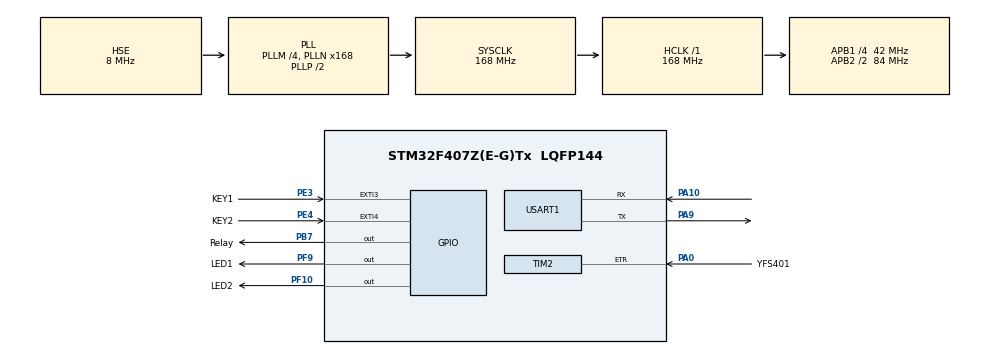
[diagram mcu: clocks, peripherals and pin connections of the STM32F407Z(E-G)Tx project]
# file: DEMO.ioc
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Mcu.Family=STM32F4
Mcu.Name=STM32F407Z(E-G)Tx
Mcu.Package=LQFP144
NVIC.EXTI3_IRQn=true\:1\:0\:true\:false\:true\:true\:true\:true
NVIC.EXTI4_IRQn=true\:1\:0\:true\:false\:true\:true\:true\:true
NVIC.PriorityGroup=NVIC_PRIORITYGROUP_4
NVIC.TIM7_IRQn=true\:0\:0\:false\:false\:true\:true\:true\:true
NVIC.USART1_IRQn=true\:0\:0\:false\:false\:true\:true\:true\:true
PA0-WKUP.GPIO_Label=YFS401
PA0-WKUP.GPIO_PuPd=GPIO_PULLDOWN
PA0-WKUP.GPIO_Speed=GPIO_SPEED_FREQ_HIGH
PA0-WKUP.Signal=S_TIM2_CH1_ETR
PA10.Mode=Asynchronous
PA10.Signal=USART1_RX
PA9.Mode=Asynchronous
PA9.Signal=USART1_TX
PB7.GPIO_Label=Relay
PB7.GPIO_ModeDefaultOutputPP=GPIO_MODE_OUTPUT_PP
PB7.GPIO_PuPd=GPIO_PULLDOWN
PB7.GPIO_Speed=GPIO_SPEED_FREQ_MEDIUM
PB7.PinState=GPIO_PIN_SET
PB7.Signal=GPIO_Output
PE3.GPIO_Label=KEY1
PE3.GPIO_ModeDefaultEXTI=GPIO_MODE_IT_FALLING
PE3.GPIO_PuPd=GPIO_PULLUP
PE3.Signal=GPXTI3
PE4.GPIO_Label=KEY2
PE4.GPIO_ModeDefaultEXTI=GPIO_MODE_IT_FALLING
PE4.GPIO_PuPd=GPIO_PULLUP
PE4.Signal=GPXTI4
PF10.GPIO_Label=LED2
PF10.GPIO_ModeDefaultOutputPP=GPIO_MODE_OUTPUT_PP
PF10.GPIO_Speed=GPIO_SPEED_FREQ_HIGH
PF10.PinState=GPIO_PIN_SET
PF10.Signal=GPIO_Output
PF9.GPIO_Label=LED1
PF9.GPIO_Speed=GPIO_SPEED_FREQ_HIGH
PF9.PinState=GPIO_PIN_SET
PF9.Signal=GPIO_Output
PH0-OSC_IN.Mode=HSE-External-Oscillator
PH0-OSC_IN.Signal=RCC_OSC_IN
PH1-OSC_OUT.Mode=HSE-External-Oscillator
PH1-OSC_OUT.Signal=RCC_OSC_OUT
ProjectManager.HeapSize=0x200
ProjectManager.StackSize=0x400
ProjectManager.TargetToolchain=MDK-ARM V5.32
RCC.48MHZClocksFreq_Value=84000000
RCC.AHBFreq_Value=168000000
RCC.APB1CLKDivider=RCC_HCLK_DIV4
RCC.APB1Freq_Value=42000000
RCC.APB1TimFreq_Value=84000000
RCC.APB2CLKDivider=RCC_HCLK_DIV2
RCC.APB2Freq_Value=84000000
RCC.APB2TimFreq_Value=168000000
RCC.CortexFreq_Value=168000000
RCC.HCLKFreq_Value=168000000
RCC.HSE_VALUE=8000000
RCC.HSI_VALUE=16000000
RCC.LSE_VALUE=32768
RCC.PLLM=4
RCC.PLLN=168
RCC.PLLSourceVirtual=RCC_PLLSOURCE_HSE
RCC.SYSCLKFreq_VALUE=168000000
RCC.SYSCLKSource=RCC_SYSCLKSOURCE_PLLCLK
RCC.VCOOutputFreq_Value=336000000
SH.S_TIM2_CH1_ETR.0=TIM2_ETR,ClockSourceETR_Mode2
TIM7.AutoReloadPreload=TIM_AUTORELOAD_PRELOAD_ENABLE
TIM7.Period=10000-1
TIM7.Prescaler=8400-1
USART1.VirtualMode=VM_ASYNC
VP_TIM7_VS_ClockSourceINT.Mode=Enable_Timer
board=custom

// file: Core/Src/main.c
/* USER CODE BEGIN Header */
/**
  ******************************************************************************
  * @file           : main.c
  * @brief          : Main program body
  ******************************************************************************
  * @attention
  *
  * Copyright (c) 2023 STMicroelectronics.
  * All rights reserved.
  *
  * This software is licensed under terms that can be found in the LICENSE file
  * in the root directory of this software component.
  * If no LICENSE file comes with this software, it is provided AS-IS.
  *
  ******************************************************************************
  */
/* USER CODE END Header */
#include "main.h"
#include "tim.h"
#include "usart.h"
#include "gpio.h"

/* USER CODE BEGIN Includes */
#include "stdio.h"
#include <string.h>
#include "YFS401.h"
/* USER CODE END Includes */

void SystemClock_Config(void);

/* USER CODE BEGIN 0 */

    uint8_t Rx1Data;
    uint8_t Uart1_RxCnt = 0;   //定义串口1接收缓冲计数
    uint8_t Rx1Buff[255];      //定义串口1数据接收缓存数组
    uint8_t Uart1TxBuf[255];   //定义串口1数据发送缓存数组

    extern uint32_t pluse1L;

/* USER CODE END 0 */

int main(void)
{

  /* MCU Configuration--------------------------------------------------------*/

  /* Reset of all peripherals, Initializes the Flash interface and the Systick. */
  HAL_Init();

  /* Configure the system clock */
  SystemClock_Config();

  /* Initialize all configured peripherals */
  MX_GPIO_Init();
  MX_USART1_UART_Init();
  MX_TIM7_Init();
  MX_TIM2_Init();
  /* USER CODE BEGIN 2 */

  HAL_UART_Receive_IT(&huart1, (uint8_t *)&Rx1Data, 1);//调用一次串口中断函数

  HAL_TIM_Base_Start(&htim2);

  __HAL_TIM_CLEAR_FLAG(&htim7, TIM_SR_UIF);     //防止启动时进一次中断
  HAL_TIM_Base_Start_IT(&htim7);

  HAL_GPIO_WritePin(GPIOB,GPIO_PIN_7,0);        //置低电平

  /* USER CODE END 2 */

  /* Infinite loop */
  /* USER CODE BEGIN WHILE */

  while (1)
  {
    Flow_Read();
    /* USER CODE END WHILE */

  }
}

void SystemClock_Config(void)
{
  RCC_OscInitTypeDef RCC_OscInitStruct = {0};
  RCC_ClkInitTypeDef RCC_ClkInitStruct = {0};

  /** Configure the main internal regulator output voltage
  */
  __HAL_RCC_PWR_CLK_ENABLE();
  __HAL_PWR_VOLTAGESCALING_CONFIG(PWR_REGULATOR_VOLTAGE_SCALE1);

  /** Initializes the RCC Oscillators according to the specified parameters
  * in the RCC_OscInitTypeDef structure.
  */
  RCC_OscInitStruct.OscillatorType = RCC_OSCILLATORTYPE_HSE;
  RCC_OscInitStruct.HSEState = RCC_HSE_ON;
  RCC_OscInitStruct.PLL.PLLState = RCC_PLL_ON;
  RCC_OscInitStruct.PLL.PLLSource = RCC_PLLSOURCE_HSE;
  RCC_OscInitStruct.PLL.PLLM = 4;
  RCC_OscInitStruct.PLL.PLLN = 168;
  RCC_OscInitStruct.PLL.PLLP = RCC_PLLP_DIV2;
  RCC_OscInitStruct.PLL.PLLQ = 4;
  if (HAL_RCC_OscConfig(&RCC_OscInitStruct) != HAL_OK)
  {
    Error_Handler();
  }

  /** Initializes the CPU, AHB and APB buses clocks
  */
  RCC_ClkInitStruct.ClockType = RCC_CLOCKTYPE_HCLK|RCC_CLOCKTYPE_SYSCLK
                              |RCC_CLOCKTYPE_PCLK1|RCC_CLOCKTYPE_PCLK2;
  RCC_ClkInitStruct.SYSCLKSource = RCC_SYSCLKSOURCE_PLLCLK;
  RCC_ClkInitStruct.AHBCLKDivider = RCC_SYSCLK_DIV1;
  RCC_ClkInitStruct.APB1CLKDivider = RCC_HCLK_DIV4;
  RCC_ClkInitStruct.APB2CLKDivider = RCC_HCLK_DIV2;

  if (HAL_RCC_ClockConfig(&RCC_ClkInitStruct, FLASH_LATENCY_5) != HAL_OK)
  {
    Error_Handler();
  }
}

/* USER CODE BEGIN 4 */

/**
  * 函数功能: 重定向c库函数printf到DEBUG_USARTx
  * 输入参数: 无
  * 返 回 值: 无
  * 说    明：无
  */
int fputc(int ch, FILE *f)
{
  HAL_UART_Transmit(&huart1, (uint8_t *)&ch, 1, 0xffff);
  return ch;
}

/**
  * 函数功能: 重定向c库函数getchar,scanf到DEBUG_USARTx
  * 输入参数: 无
  * 返 回 值: 无
  * 说    明：无
  */
int fgetc(FILE *f)
{
  uint8_t ch = 0;
  HAL_UART_Receive(&huart1, &ch, 1, 0xffff);
  return ch;
}

//==============================================================================
// @函数: void HAL_UART_RxCpltCallback(UART_HandleTypeDef *UartHandle)
// @描述: 将接收数据发送
// @参数: huart
// @返回: None
// @时间: 2023.10.25
//==============================================================================
void HAL_UART_RxCpltCallback(UART_HandleTypeDef *huart)
{
    UNUSED(huart);
    if(huart->Instance == huart1.Instance)
    {
        if(Uart1_RxCnt >= 255)  //溢出判断
        {
            Uart1_RxCnt = 0;
            memset(Rx1Buff,0x00,sizeof(Rx1Buff));
            HAL_UART_Transmit(&huart1, (uint8_t *)"数据溢出", 10,0xFFFF);
        }
        else
        {
            Rx1Buff[Uart1_RxCnt++] = Rx1Data;   //接收数据转存
            if((Rx1Buff[Uart1_RxCnt-1] == 0x0A)&&(Rx1Buff[Uart1_RxCnt-2] == 0x0D)) //判断结束位/r/n
            {
                HAL_UART_Transmit(&huart1, (uint8_t *)&Rx1Buff, Uart1_RxCnt,0xFFFF); //将收到的信息发送出去
                Uart1_RxCnt = 0;
                memset(Rx1Buff,0x00,sizeof(Rx1Buff)); //清空数组
            }
          }

        HAL_UART_Receive_IT(&huart1, (uint8_t *)&Rx1Data, 1);   //再开启接收中断
    }
}

void HAL_GPIO_EXTI_Callback(uint16_t GPIO_Pin)
{
	if(GPIO_Pin == KEY1_Pin)
	{
		HAL_Delay(10);
		if(HAL_GPIO_ReadPin(KEY1_GPIO_Port,KEY1_Pin) == 0)
		{
            HAL_GPIO_WritePin(GPIOF,GPIO_PIN_10,1); //LED闪烁
            HAL_GPIO_WritePin(GPIOB,GPIO_PIN_7,1);  //控制继电器开始通水
            golbal_flow.acculat = 0.0;              //清空累计流量
		}
	}
    if(GPIO_Pin == KEY2_Pin)
	{
        HAL_Delay(10);
        if(HAL_GPIO_ReadPin(KEY2_GPIO_Port,KEY2_Pin) == 0)
		{
            printf("pluse=%ld\r\n",pluse1L);
            HAL_GPIO_WritePin(GPIOB,GPIO_PIN_7,0);
            HAL_GPIO_WritePin(GPIOF,GPIO_PIN_10,0);
            while(1);
		}
    }
//    if(GPIO_Pin == YFS401_Pin)
//	{
//        golbal_flow.pluse_1s++;           //下降沿采集脉冲数
//    }
}

void HAL_TIM_PeriodElapsedCallback(TIM_HandleTypeDef *htim)
{
    if (htim == (&htim7))
    {
        HAL_GPIO_TogglePin(GPIOF,GPIO_PIN_9);   //led闪烁

        golbal_flow.pluse_1s = __HAL_TIM_GET_COUNTER(&htim2);   //得到TIM2的脉冲计数
        __HAL_TIM_SET_COUNTER(&htim2,0);                        //TIM2计数清零

        golbal_flow.receive_flag = 1;
    }
}

/* USER CODE END 4 */

void Error_Handler(void)
{
  __disable_irq();
  while (1)
  {
  }
}
